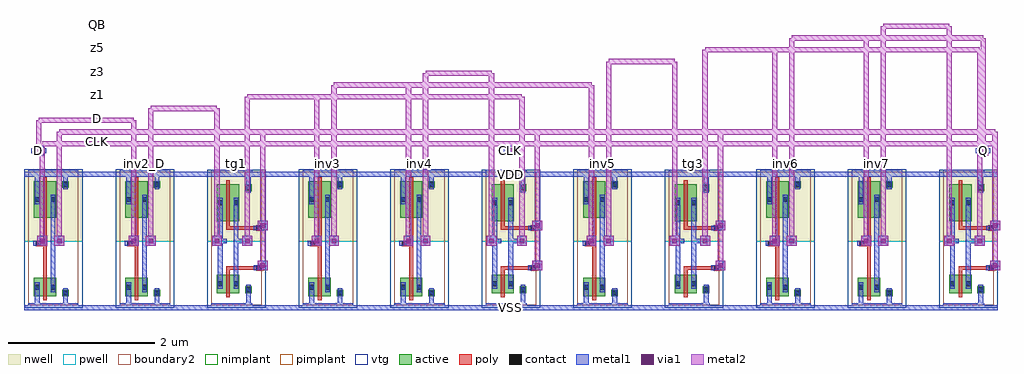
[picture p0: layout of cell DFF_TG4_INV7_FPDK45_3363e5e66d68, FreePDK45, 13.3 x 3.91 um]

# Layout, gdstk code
import gdstk
lib = gdstk.Library(unit=1e-6, precision=5e-10)
def R(c, l, rs):  # rectangles x0, y0, x1, y1
    for r in rs: c.add(gdstk.rectangle(r[:2], r[2:], *l))
def A(c, l, x, y, w, h, nx, ny, dx, dy):  # array of equal rectangles
    R(c, l, [(x+i*dx, y+j*dy, x+i*dx+w, y+j*dy+h) for i in range(nx) for j in range(ny)])
active = (1, 0)
pwell = (2, 0)
nwell = (3, 0)
nimplant = (4, 0)
pimplant = (5, 0)
vtg = (6, 0)
poly = (9, 0)
contact = (10, 0)
metal1 = (11, 0)
via1 = (12, 0)
metal2 = (13, 0)
boundary2 = (239, 0)

compose_child__pinv_nw25 = lib.new_cell('COMPOSE_CHILD__PINV_NW250_PW500_L50__PINV_NW250_PW500_L50__TRANSMISSION_GATE_NW250_PW500_L50_contact_8')
R(compose_child__pinv_nw25, active, [(0,0.0225,0.09,0.1125)])
R(compose_child__pinv_nw25, nwell, [(-0.055,-0.0325,0.145,0.1675)])
R(compose_child__pinv_nw25, pimplant, [(0,0.0225,0.09,0.1125)])
R(compose_child__pinv_nw25, contact, [(0.0125,0.035,0.0775,0.1)])
R(compose_child__pinv_nw25, metal1, [(0.0125,0,0.0775,0.135)])
R(compose_child__pinv_nw25, boundary2, [(-0.055,-0.0325,0.145,0.1675)])

c_compose_child__pinv_nw25 = lib.new_cell('COMPOSE_CHILD__PINV_NW250_PW500_L50__PINV_NW250_PW500_L50__PINV_NW250_PW500_L50_pmos_m1_w0_500_sm1_dm1_da_p')
R(c_compose_child__pinv_nw25, active, [(0,0,0.305,0.5)])
R(c_compose_child__pinv_nw25, nwell, [(-0.08,-0.08,0.385,0.58)])
R(c_compose_child__pinv_nw25, pimplant, [(0,0,0.305,0.5)])
R(c_compose_child__pinv_nw25, vtg, [(-0.08,-0.08,0.385,0.58)])
R(c_compose_child__pinv_nw25, poly, [(0.1275,-0.055,0.1775,0.555), (0.1275,-0.055,0.1775,0.555)])
R(c_compose_child__pinv_nw25, metal1, [(0.0125,0.1825,0.0775,0.3175), (0.2275,0.1825,0.2925,0.3175)])
R(c_compose_child__pinv_nw25, boundary2, [(-0.08,-0.08,0.385,0.58)])
c_compose_child__pinv_nw25.add(gdstk.Reference(compose_child__pinv_nw25, (0,0.1825)))
c_compose_child__pinv_nw25.add(gdstk.Reference(compose_child__pinv_nw25, (0.215,0.1825)))

c_compose_child__pinv_nw25_ = lib.new_cell('COMPOSE_CHILD__PINV_NW250_PW500_L50__PINV_NW250_PW500_L50__TRANSMISSION_GATE_NW250_PW500_L50_contact_7')
R(c_compose_child__pinv_nw25_, active, [(0,0.0225,0.09,0.1125)])
R(c_compose_child__pinv_nw25_, pwell, [(-0.055,-0.0325,0.145,0.1675)])
R(c_compose_child__pinv_nw25_, nimplant, [(0,0.0225,0.09,0.1125)])
R(c_compose_child__pinv_nw25_, contact, [(0.0125,0.035,0.0775,0.1)])
R(c_compose_child__pinv_nw25_, metal1, [(0.0125,0,0.0775,0.135)])
R(c_compose_child__pinv_nw25_, boundary2, [(-0.055,-0.0325,0.145,0.1675)])

c_compose_child__pinv_nw25__ = lib.new_cell('COMPOSE_CHILD__PINV_NW250_PW500_L50__PINV_NW250_PW500_L50__PINV_NW250_PW500_L50_nmos_m1_w0_250_sm1_dm1_da_p')
R(c_compose_child__pinv_nw25__, active, [(0,0,0.305,0.25)])
R(c_compose_child__pinv_nw25__, pwell, [(-0.08,-0.08,0.385,0.33)])
R(c_compose_child__pinv_nw25__, nimplant, [(0,0,0.305,0.25)])
R(c_compose_child__pinv_nw25__, vtg, [(-0.08,-0.08,0.385,0.33)])
R(c_compose_child__pinv_nw25__, poly, [(0.1275,-0.055,0.1775,0.305), (0.1275,-0.055,0.1775,0.305)])
R(c_compose_child__pinv_nw25__, metal1, [(0.0125,0.0575,0.0775,0.1925), (0.2275,0.0575,0.2925,0.1925)])
R(c_compose_child__pinv_nw25__, boundary2, [(-0.08,-0.08,0.385,0.33)])
c_compose_child__pinv_nw25__.add(gdstk.Reference(c_compose_child__pinv_nw25_, (0,0.0575)))
c_compose_child__pinv_nw25__.add(gdstk.Reference(c_compose_child__pinv_nw25_, (0.215,0.0575)))

c_compose_child__pinv_nw25___ = lib.new_cell('COMPOSE_CHILD__PINV_NW250_PW500_L50__PINV_NW250_PW500_L50__TRANSMISSION_GATE_NW250_PW500_L50_contact_9')
R(c_compose_child__pinv_nw25___, active, [(0,0.0225,0.09,0.1125)])
R(c_compose_child__pinv_nw25___, nwell, [(-0.055,-0.0325,0.145,0.1675)])
R(c_compose_child__pinv_nw25___, nimplant, [(0,0.0225,0.09,0.1125)])
R(c_compose_child__pinv_nw25___, contact, [(0.0125,0.035,0.0775,0.1)])
R(c_compose_child__pinv_nw25___, metal1, [(0.0125,0,0.0775,0.135)])
R(c_compose_child__pinv_nw25___, boundary2, [(-0.055,-0.0325,0.145,0.1675)])

c_compose_child__pinv_nw25____ = lib.new_cell('COMPOSE_CHILD__PINV_NW250_PW500_L50__PINV_NW250_PW500_L50__TRANSMISSION_GATE_NW250_PW500_L50_contact_10')
R(c_compose_child__pinv_nw25____, active, [(0,0.0225,0.09,0.1125)])
R(c_compose_child__pinv_nw25____, pwell, [(-0.055,-0.0325,0.145,0.1675)])
R(c_compose_child__pinv_nw25____, pimplant, [(0,0.0225,0.09,0.1125)])
R(c_compose_child__pinv_nw25____, contact, [(0.0125,0.035,0.0775,0.1)])
R(c_compose_child__pinv_nw25____, metal1, [(0.0125,0,0.0775,0.135)])
R(c_compose_child__pinv_nw25____, boundary2, [(-0.055,-0.0325,0.145,0.1675)])

c_compose_child__pinv_nw25_____ = lib.new_cell('COMPOSE_CHILD__PINV_NW250_PW500_L50__PINV_NW250_PW500_L50__PINV_NW180_PW270_L50_contact_11')
R(c_compose_child__pinv_nw25_____, poly, [(0.03,0,0.105,0.075)])
R(c_compose_child__pinv_nw25_____, contact, [(0.035,0.005,0.1,0.07)])
R(c_compose_child__pinv_nw25_____, metal1, [(0,0.005,0.135,0.07)])
R(c_compose_child__pinv_nw25_____, boundary2, [(0,0,0.135,0.075)])

c_compose_child__pinv_nw25______ = lib.new_cell('COMPOSE_CHILD__PINV_NW250_PW500_L50__PINV_NW250_PW500_L50__PINV_NW250_PW500_L50_core')
R(c_compose_child__pinv_nw25______, pwell, [(-0.055,-0.0325,0.7425,0.8725)])
R(c_compose_child__pinv_nw25______, nwell, [(-0.055,0.8725,0.7425,1.855)])
R(c_compose_child__pinv_nw25______, vtg, [(-0.055,-0.0325,0.7425,0.8725), (-0.055,0.8725,0.7425,1.855)])
R(c_compose_child__pinv_nw25______, poly, [(0.2075,0.43,0.2575,1.14), (0.14,0.81,0.2075,0.885)])
R(c_compose_child__pinv_nw25______, metal1, [(0,-0.0325,0.6875,0.0325), (0.0925,-0.0325,0.1575,0.1825), (0.4775,0,0.5425,0.17), (0.3075,0.1825,0.3725,1.5125), (0.0725,0.815,0.2075,0.88), (0.34,0.815,0.405,0.88), (0.0925,1.3775,0.1575,1.8525), (0.4775,1.65,0.5425,1.82), (0,1.7875,0.6875,1.8525)])
R(c_compose_child__pinv_nw25______, boundary2, [(0,0,0.6875,1.82), (0,0,0.6875,1.82)])
c_compose_child__pinv_nw25______.add(gdstk.Reference(c_compose_child__pinv_nw25, (0.08,1.195)))
c_compose_child__pinv_nw25______.add(gdstk.Reference(c_compose_child__pinv_nw25__, (0.08,0.125)))
c_compose_child__pinv_nw25______.add(gdstk.Reference(c_compose_child__pinv_nw25___, (0.465,1.5825)))
c_compose_child__pinv_nw25______.add(gdstk.Reference(c_compose_child__pinv_nw25____, (0.465,0.1025)))
c_compose_child__pinv_nw25______.add(gdstk.Reference(c_compose_child__pinv_nw25_____, (0.0725,0.81)))

c_compose_child__pinv_nw25_______ = lib.new_cell('COMPOSE_CHILD__PINV_NW250_PW500_L50__PINV_NW250_PW500_L50__PINV_NW250_PW500_L50')
R(c_compose_child__pinv_nw25_______, metal1, [(0,-0.0325,0.6875,0.0325), (0.0725,0.815,0.2075,0.88), (0.34,0.815,0.405,0.88), (0,1.7875,0.6875,1.8525)])
R(c_compose_child__pinv_nw25_______, boundary2, [(0,0,0.6875,1.82)])
c_compose_child__pinv_nw25_______.add(gdstk.Reference(c_compose_child__pinv_nw25______, (0,0)))

compose_child__transmiss = lib.new_cell('COMPOSE_CHILD__TRANSMISSION_GATE_NW250_PW500_L50__TRANSMISSION_GATE_NW250_PW500_L50__TRANSMISSION_GATE_NW250_PW500_L50_contact_8')
R(compose_child__transmiss, active, [(0,0.0225,0.09,0.1125)])
R(compose_child__transmiss, nwell, [(-0.055,-0.0325,0.145,0.1675)])
R(compose_child__transmiss, pimplant, [(0,0.0225,0.09,0.1125)])
R(compose_child__transmiss, contact, [(0.0125,0.035,0.0775,0.1)])
R(compose_child__transmiss, metal1, [(0.0125,0,0.0775,0.135)])
R(compose_child__transmiss, boundary2, [(-0.055,-0.0325,0.145,0.1675)])

c_compose_child__transmiss = lib.new_cell('COMPOSE_CHILD__TRANSMISSION_GATE_NW250_PW500_L50__TRANSMISSION_GATE_NW250_PW500_L50__TRANSMISSION_GATE_NW250_PW500_L50_pmos_m1_w0_500_sm1_dm1')
R(c_compose_child__transmiss, active, [(0,0,0.305,0.5)])
R(c_compose_child__transmiss, nwell, [(-0.08,-0.08,0.385,0.58)])
R(c_compose_child__transmiss, pimplant, [(0,0,0.305,0.5)])
R(c_compose_child__transmiss, vtg, [(-0.08,-0.08,0.385,0.58)])
R(c_compose_child__transmiss, poly, [(0.1275,-0.055,0.1775,0.555), (0.1275,-0.055,0.1775,0.555)])
R(c_compose_child__transmiss, metal1, [(0.0125,0.1825,0.0775,0.3175), (0.2275,0.1825,0.2925,0.3175)])
R(c_compose_child__transmiss, boundary2, [(-0.08,-0.08,0.385,0.58)])
c_compose_child__transmiss.add(gdstk.Reference(compose_child__transmiss, (0,0.1825)))
c_compose_child__transmiss.add(gdstk.Reference(compose_child__transmiss, (0.215,0.1825)))

c_compose_child__transmiss_ = lib.new_cell('COMPOSE_CHILD__TRANSMISSION_GATE_NW250_PW500_L50__TRANSMISSION_GATE_NW250_PW500_L50__TRANSMISSION_GATE_NW250_PW500_L50_contact_7')
R(c_compose_child__transmiss_, active, [(0,0.0225,0.09,0.1125)])
R(c_compose_child__transmiss_, pwell, [(-0.055,-0.0325,0.145,0.1675)])
R(c_compose_child__transmiss_, nimplant, [(0,0.0225,0.09,0.1125)])
R(c_compose_child__transmiss_, contact, [(0.0125,0.035,0.0775,0.1)])
R(c_compose_child__transmiss_, metal1, [(0.0125,0,0.0775,0.135)])
R(c_compose_child__transmiss_, boundary2, [(-0.055,-0.0325,0.145,0.1675)])

c_compose_child__transmiss__ = lib.new_cell('COMPOSE_CHILD__TRANSMISSION_GATE_NW250_PW500_L50__TRANSMISSION_GATE_NW250_PW500_L50__TRANSMISSION_GATE_NW250_PW500_L50_nmos_m1_w0_250_sm1_dm1')
R(c_compose_child__transmiss__, active, [(0,0,0.305,0.25)])
R(c_compose_child__transmiss__, pwell, [(-0.08,-0.08,0.385,0.33)])
R(c_compose_child__transmiss__, nimplant, [(0,0,0.305,0.25)])
R(c_compose_child__transmiss__, vtg, [(-0.08,-0.08,0.385,0.33)])
R(c_compose_child__transmiss__, poly, [(0.1275,-0.055,0.1775,0.305), (0.1275,-0.055,0.1775,0.305)])
R(c_compose_child__transmiss__, metal1, [(0.0125,0.0575,0.0775,0.1925), (0.2275,0.0575,0.2925,0.1925)])
R(c_compose_child__transmiss__, boundary2, [(-0.08,-0.08,0.385,0.33)])
c_compose_child__transmiss__.add(gdstk.Reference(c_compose_child__transmiss_, (0,0.0575)))
c_compose_child__transmiss__.add(gdstk.Reference(c_compose_child__transmiss_, (0.215,0.0575)))

c_compose_child__transmiss___ = lib.new_cell('COMPOSE_CHILD__TRANSMISSION_GATE_NW250_PW500_L50__TRANSMISSION_GATE_NW250_PW500_L50__TRANSMISSION_GATE_NW250_PW500_L50_contact_9')
R(c_compose_child__transmiss___, active, [(0,0.0225,0.09,0.1125)])
R(c_compose_child__transmiss___, nwell, [(-0.055,-0.0325,0.145,0.1675)])
R(c_compose_child__transmiss___, nimplant, [(0,0.0225,0.09,0.1125)])
R(c_compose_child__transmiss___, contact, [(0.0125,0.035,0.0775,0.1)])
R(c_compose_child__transmiss___, metal1, [(0.0125,0,0.0775,0.135)])
R(c_compose_child__transmiss___, boundary2, [(-0.055,-0.0325,0.145,0.1675)])

c_compose_child__transmiss____ = lib.new_cell('COMPOSE_CHILD__TRANSMISSION_GATE_NW250_PW500_L50__TRANSMISSION_GATE_NW250_PW500_L50__TRANSMISSION_GATE_NW250_PW500_L50_contact_10')
R(c_compose_child__transmiss____, active, [(0,0.0225,0.09,0.1125)])
R(c_compose_child__transmiss____, pwell, [(-0.055,-0.0325,0.145,0.1675)])
R(c_compose_child__transmiss____, pimplant, [(0,0.0225,0.09,0.1125)])
R(c_compose_child__transmiss____, contact, [(0.0125,0.035,0.0775,0.1)])
R(c_compose_child__transmiss____, metal1, [(0.0125,0,0.0775,0.135)])
R(c_compose_child__transmiss____, boundary2, [(-0.055,-0.0325,0.145,0.1675)])

c_compose_child__transmiss_____ = lib.new_cell('COMPOSE_CHILD__TRANSMISSION_GATE_NW250_PW500_L50__TRANSMISSION_GATE_NW250_PW500_L50__TRANSMISSION_GATE_NW250_PW500_L50_contact_11')
R(c_compose_child__transmiss_____, poly, [(0.03,0,0.105,0.075)])
R(c_compose_child__transmiss_____, contact, [(0.035,0.005,0.1,0.07)])
R(c_compose_child__transmiss_____, metal1, [(0,0.005,0.135,0.07)])
R(c_compose_child__transmiss_____, boundary2, [(0,0,0.135,0.075)])

c_compose_child__transmiss______ = lib.new_cell('COMPOSE_CHILD__TRANSMISSION_GATE_NW250_PW500_L50__TRANSMISSION_GATE_NW250_PW500_L50__TRANSMISSION_GATE_NW250_PW500_L50_core')
R(c_compose_child__transmiss______, pwell, [(-0.055,-0.0325,0.7425,0.8725)])
R(c_compose_child__transmiss______, nwell, [(-0.055,0.8725,0.7425,1.8525)])
R(c_compose_child__transmiss______, vtg, [(-0.055,-0.0325,0.7425,0.8725), (-0.055,0.8725,0.7425,1.8525)])
R(c_compose_child__transmiss______, poly, [(0.2075,0.295,0.2575,0.5125), (0.2075,0.4875,0.2575,0.5375), (0.2325,0.4875,0.65,0.5375), (0.2075,1.0325,0.2575,1.0825), (0.2325,1.0325,0.65,1.0825), (0.2075,1.0575,0.2575,1.4)])
R(c_compose_child__transmiss______, metal1, [(0,-0.0325,0.56,0.0325), (0.4775,0,0.5425,0.215), (0.0925,0.2275,0.1575,1.4675), (0.3075,0.2275,0.3725,1.4675), (0.5825,0.48,0.7175,0.545), (0.5825,1.025,0.7175,1.09), (0.4775,1.605,0.5425,1.82), (0,1.7875,0.56,1.8525)])
R(c_compose_child__transmiss______, boundary2, [(0,0,0.6875,1.82), (0,0,0.6875,1.82)])
c_compose_child__transmiss______.add(gdstk.Reference(c_compose_child__transmiss, (0.08,1.15)))
c_compose_child__transmiss______.add(gdstk.Reference(c_compose_child__transmiss__, (0.08,0.17)))
c_compose_child__transmiss______.add(gdstk.Reference(c_compose_child__transmiss___, (0.465,1.5375)))
c_compose_child__transmiss______.add(gdstk.Reference(c_compose_child__transmiss____, (0.465,0.1475)))
c_compose_child__transmiss______.add(gdstk.Reference(c_compose_child__transmiss_____, (0.5825,1.02)))
c_compose_child__transmiss______.add(gdstk.Reference(c_compose_child__transmiss_____, (0.5825,0.475)))

c_compose_child__transmiss_______ = lib.new_cell('COMPOSE_CHILD__TRANSMISSION_GATE_NW250_PW500_L50__TRANSMISSION_GATE_NW250_PW500_L50__TRANSMISSION_GATE_NW250_PW500_L50')
R(c_compose_child__transmiss_______, metal1, [(0,-0.0325,0.56,0.0325), (0.0925,0.2275,0.1575,1.4675), (0.3075,0.2275,0.3725,1.4675), (0.5825,0.48,0.7175,0.545), (0.5825,1.025,0.7175,1.09), (0,1.7875,0.56,1.8525)])
R(c_compose_child__transmiss_______, boundary2, [(0,0,0.6875,1.82)])
c_compose_child__transmiss_______.add(gdstk.Reference(c_compose_child__transmiss______, (0,0)))

dff_tg4_inv7_fpdk45_3363 = lib.new_cell('DFF_TG4_INV7_FPDK45_3363e5e66d68')
A(dff_tg4_inv7_fpdk45_3363, metal1, 0.7975, -0.0325, 0.45, 0.065, 10, 2, 1.2475, 1.82)
R(dff_tg4_inv7_fpdk45_3363, metal1, [(0,-0.0325,13.2725,0.0325), (3.1875,0.51,3.3225,0.645), (6.93,0.51,7.065,0.645), (9.425,0.51,9.56,0.645), (13.1675,0.51,13.3025,0.645), (0.1825,0.845,0.3175,0.98), (0.415,0.845,0.55,0.98), (1.43,0.845,1.565,0.98), (1.6625,0.845,1.7975,0.98), (2.5625,0.845,2.6975,0.98), (2.9775,0.845,3.1125,0.98), (3.925,0.845,4.06,0.98), (4.1575,0.845,4.2925,0.98), (5.1725,0.845,5.3075,0.98), (5.405,0.845,5.54,0.98), (6.305,0.845,6.44,0.98), (6.72,0.845,6.855,0.98), (7.6675,0.845,7.8025,0.98), (7.9,0.845,8.035,0.98), (8.8,0.845,8.935,0.98), (9.215,0.845,9.35,0.98), (10.1625,0.845,10.2975,0.98), (10.395,0.845,10.53,0.98), (11.41,0.845,11.545,0.98), (11.6425,0.845,11.7775,0.98), (12.5425,0.845,12.6775,0.98), (12.9575,0.845,13.0925,0.98), (2.63,0.88,2.7625,0.945), (2.9125,0.88,3.045,0.945), (6.3725,0.88,6.505,0.945), (6.655,0.88,6.7875,0.945), (8.8675,0.88,9,0.945), (9.15,0.88,9.2825,0.945), (12.61,0.88,12.7425,0.945), (12.8925,0.88,13.025,0.945), (3.1875,1.055,3.3225,1.19), (6.93,1.055,7.065,1.19), (9.425,1.055,9.56,1.19), (13.1675,1.055,13.3025,1.19), (0,1.7875,13.2725,1.8525), (0.1325,2.0725,0.2675,2.2075), (6.569,2.0725,6.704,2.2075), (13.005,2.0725,13.14,2.2075), (0.1,2.1075,0.3,2.1725), (6.5365,2.1075,6.736,2.1725), (12.9725,2.1075,13.1725,2.1725)])
R(dff_tg4_inv7_fpdk45_3363, via1, [(3.2225,0.545,3.2875,0.61), (6.965,0.545,7.03,0.61), (9.46,0.545,9.525,0.61), (13.2025,0.545,13.2675,0.61), (0.2175,0.88,0.2825,0.945), (0.45,0.88,0.515,0.945), (1.465,0.88,1.53,0.945), (1.6975,0.88,1.7625,0.945), (2.5975,0.88,2.6625,0.945), (3.0125,0.88,3.0775,0.945), (3.96,0.88,4.025,0.945), (4.1925,0.88,4.2575,0.945), (5.2075,0.88,5.2725,0.945), (5.44,0.88,5.505,0.945), (6.34,0.88,6.405,0.945), (6.755,0.88,6.82,0.945), (7.7025,0.88,7.7675,0.945), (7.935,0.88,8,0.945), (8.835,0.88,8.9,0.945), (9.25,0.88,9.315,0.945), (10.1975,0.88,10.2625,0.945), (10.43,0.88,10.495,0.945), (11.445,0.88,11.51,0.945), (11.6775,0.88,11.7425,0.945), (12.5775,0.88,12.6425,0.945), (12.9925,0.88,13.0575,0.945), (3.2225,1.09,3.2875,1.155), (6.965,1.09,7.03,1.155), (9.46,1.09,9.525,1.155), (13.2025,1.09,13.2675,1.155), (0.1675,2.1075,0.2325,2.1725), (6.604,2.1075,6.6685,2.1725), (13.04,2.1075,13.105,2.1725)])
R(dff_tg4_inv7_fpdk45_3363, metal2, [(3.1875,0.51,3.3225,0.645), (6.93,0.51,7.065,0.645), (9.425,0.51,9.56,0.645), (13.1675,0.51,13.3025,0.645), (3.22,0.645,3.29,2.3975), (6.9625,0.645,7.0325,2.2375), (9.4575,0.645,9.5275,2.2375), (13.2,0.645,13.27,2.3975), (0.1825,0.845,0.3175,0.98), (0.415,0.845,0.55,0.98), (1.43,0.845,1.565,0.98), (1.6625,0.845,1.7975,0.98), (2.5625,0.845,2.6975,0.98), (2.9775,0.845,3.1125,0.98), (3.925,0.845,4.06,0.98), (4.1575,0.845,4.2925,0.98), (5.1725,0.845,5.3075,0.98), (5.405,0.845,5.54,0.98), (6.305,0.845,6.44,0.98), (6.72,0.845,6.855,0.98), (7.6675,0.845,7.8025,0.98), (7.9,0.845,8.035,0.98), (8.8,0.845,8.935,0.98), (9.215,0.845,9.35,0.98), (10.1625,0.845,10.2975,0.98), (10.395,0.845,10.53,0.98), (11.41,0.845,11.545,0.98), (11.6425,0.845,11.7775,0.98), (12.5425,0.845,12.6775,0.98), (12.9575,0.845,13.0925,0.98), (0.215,0.98,0.285,2.2375), (0.4475,0.98,0.5175,2.3975), (1.4625,0.98,1.5325,2.5575), (1.695,0.98,1.765,2.7175), (2.595,0.98,2.665,2.7175), (3.01,0.98,3.08,2.8775), (3.9575,0.98,4.0275,2.8775), (4.19,0.98,4.26,3.0375), (5.205,0.98,5.275,3.0375), (5.4375,0.98,5.5075,3.1975), (6.3375,0.98,6.4075,3.1975), (6.7525,0.98,6.8225,2.8775), (7.7,0.98,7.77,3.0375), (7.9325,0.98,8.0025,3.3575), (8.8325,0.98,8.9025,3.3575), (9.2475,0.98,9.3175,3.5175), (10.195,0.98,10.265,3.5175), (10.4275,0.98,10.4975,3.6775), (11.4425,0.98,11.5125,3.6775), (11.675,0.98,11.745,3.8375), (12.575,0.98,12.645,3.8375), (12.99,0.98,13.06,3.5175), (3.1875,1.055,3.3225,1.19), (6.93,1.055,7.065,1.19), (9.425,1.055,9.56,1.19), (13.1675,1.055,13.3025,1.19), (3.22,1.19,3.29,2.2375), (6.9625,1.19,7.0325,2.3975), (9.4575,1.19,9.5275,2.3975), (13.2,1.19,13.27,2.2375), (0.1325,2.0725,0.2675,2.2075), (6.569,2.0725,6.704,2.2075), (13.005,2.0725,13.14,2.2075), (0.25,2.2025,13.235,2.2725), (0.165,2.2075,0.235,2.5575), (6.601,2.2075,6.6715,2.2375), (13.0375,2.2075,13.1075,3.6775), (0.4825,2.3625,13.235,2.4325), (0.2,2.5225,1.4975,2.5925), (1.73,2.6825,2.63,2.7525), (3.045,2.8425,6.7875,2.9125), (4.225,3.0025,7.735,3.0725), (5.4725,3.1625,6.3725,3.2325), (7.9675,3.3225,8.8675,3.3925), (9.2825,3.4825,13.025,3.5525), (10.4625,3.6425,13.0725,3.7125), (11.71,3.8025,12.61,3.8725)])
dff_tg4_inv7_fpdk45_3363.add(gdstk.Reference(c_compose_child__pinv_nw25_______, (0.055,0.0325)))
dff_tg4_inv7_fpdk45_3363.add(gdstk.Reference(c_compose_child__pinv_nw25_______, (1.3025,0.0325)))
dff_tg4_inv7_fpdk45_3363.add(gdstk.Reference(c_compose_child__transmiss_______, (2.55,0.0325)))
dff_tg4_inv7_fpdk45_3363.add(gdstk.Reference(c_compose_child__pinv_nw25_______, (3.7975,0.0325)))
dff_tg4_inv7_fpdk45_3363.add(gdstk.Reference(c_compose_child__pinv_nw25_______, (5.045,0.0325)))
dff_tg4_inv7_fpdk45_3363.add(gdstk.Reference(c_compose_child__transmiss_______, (6.2925,0.0325)))
dff_tg4_inv7_fpdk45_3363.add(gdstk.Reference(c_compose_child__pinv_nw25_______, (7.54,0.0325)))
dff_tg4_inv7_fpdk45_3363.add(gdstk.Reference(c_compose_child__transmiss_______, (8.7875,0.0325)))
dff_tg4_inv7_fpdk45_3363.add(gdstk.Reference(c_compose_child__pinv_nw25_______, (10.035,0.0325)))
dff_tg4_inv7_fpdk45_3363.add(gdstk.Reference(c_compose_child__pinv_nw25_______, (11.2825,0.0325)))
dff_tg4_inv7_fpdk45_3363.add(gdstk.Reference(c_compose_child__transmiss_______, (12.53,0.0325)))
dff_tg4_inv7_fpdk45_3363.add(gdstk.Label('D', (0.2,2.14), layer=11, texttype=0))
dff_tg4_inv7_fpdk45_3363.add(gdstk.Label('CLK', (6.6365,2.14), layer=11, texttype=0))
dff_tg4_inv7_fpdk45_3363.add(gdstk.Label('Q', (13.0725,2.14), layer=11, texttype=0))
dff_tg4_inv7_fpdk45_3363.add(gdstk.Label('VDD', (6.6365,1.82), layer=11, texttype=0))
dff_tg4_inv7_fpdk45_3363.add(gdstk.Label('VSS', (6.6365,0), layer=11, texttype=0))
dff_tg4_inv7_fpdk45_3363.add(gdstk.Label('inv1_clk', (0.3985,1.9675), layer=239, texttype=0))
dff_tg4_inv7_fpdk45_3363.add(gdstk.Label('inv2_D', (1.646,1.9675), layer=239, texttype=0))
dff_tg4_inv7_fpdk45_3363.add(gdstk.Label('tg1', (2.8935,1.965), layer=239, texttype=0))
dff_tg4_inv7_fpdk45_3363.add(gdstk.Label('inv3', (4.1415,1.9675), layer=239, texttype=0))
dff_tg4_inv7_fpdk45_3363.add(gdstk.Label('inv4', (5.3885,1.9675), layer=239, texttype=0))
dff_tg4_inv7_fpdk45_3363.add(gdstk.Label('tg2', (6.6365,1.965), layer=239, texttype=0))
dff_tg4_inv7_fpdk45_3363.add(gdstk.Label('inv5', (7.884,1.9675), layer=239, texttype=0))
dff_tg4_inv7_fpdk45_3363.add(gdstk.Label('tg3', (9.131,1.965), layer=239, texttype=0))
dff_tg4_inv7_fpdk45_3363.add(gdstk.Label('inv6', (10.3785,1.9675), layer=239, texttype=0))
dff_tg4_inv7_fpdk45_3363.add(gdstk.Label('inv7', (11.626,1.9675), layer=239, texttype=0))
dff_tg4_inv7_fpdk45_3363.add(gdstk.Label('tg4', (12.874,1.965), layer=239, texttype=0))
dff_tg4_inv7_fpdk45_3363.add(gdstk.Label('CLK', (1,2.2675), layer=239, texttype=0))
dff_tg4_inv7_fpdk45_3363.add(gdstk.Label('CLKB', (1,2.4275), layer=239, texttype=0))
dff_tg4_inv7_fpdk45_3363.add(gdstk.Label('D', (1,2.5875), layer=239, texttype=0))
dff_tg4_inv7_fpdk45_3363.add(gdstk.Label('D_b', (1,2.7475), layer=239, texttype=0))
dff_tg4_inv7_fpdk45_3363.add(gdstk.Label('z1', (1,2.9075), layer=239, texttype=0))
dff_tg4_inv7_fpdk45_3363.add(gdstk.Label('z2', (1,3.0675), layer=239, texttype=0))
dff_tg4_inv7_fpdk45_3363.add(gdstk.Label('z3', (1,3.2275), layer=239, texttype=0))
dff_tg4_inv7_fpdk45_3363.add(gdstk.Label('z4', (1,3.3875), layer=239, texttype=0))
dff_tg4_inv7_fpdk45_3363.add(gdstk.Label('z5', (1,3.5475), layer=239, texttype=0))
dff_tg4_inv7_fpdk45_3363.add(gdstk.Label('Q', (1,3.7075), layer=239, texttype=0))
dff_tg4_inv7_fpdk45_3363.add(gdstk.Label('QB', (1,3.8675), layer=239, texttype=0))

lib.write_gds('DFF_TG4_INV7_FPDK45_3363e5e66d68.gds')
